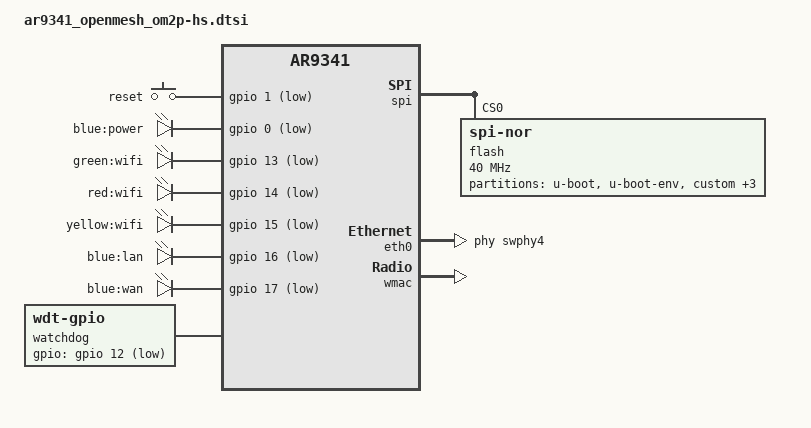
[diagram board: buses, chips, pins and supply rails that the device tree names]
// SPDX-License-Identifier: GPL-2.0-or-later OR MIT

#include "ar9341.dtsi"

#include <dt-bindings/gpio/gpio.h>
#include <dt-bindings/input/input.h>

/ {
	chosen {
		/delete-property/ bootargs;
	};

	aliases {
		led-boot = &led_power_blue;
		led-failsafe = &led_power_blue;
		led-running = &led_power_blue;
		led-upgrade = &led_power_blue;
		label-mac-device = &eth1;
	};

	keys {
		compatible = "gpio-keys";

		pinctrl-names = "default";
		pinctrl-0 = <&jtag_disable_pins &led_lan_wan_blue_pin>;

		reset {
			label = "reset";
			linux,code = <KEY_RESTART>;
			gpios = <&gpio 1 GPIO_ACTIVE_LOW>;
		};
	};

	leds {
		compatible = "gpio-leds";

		led_power_blue: power_blue {
			label = "blue:power";
			gpios = <&gpio 0 GPIO_ACTIVE_LOW>;
			default-state = "on";
		};

		wifi_green {
			label = "green:wifi";
			gpios = <&gpio 13 GPIO_ACTIVE_LOW>;
			linux,default-trigger = "phy0tpt";
		};

		wifi_red {
			label = "red:wifi";
			gpios = <&gpio 14 GPIO_ACTIVE_LOW>;
		};

		wifi_yellow {
			label = "yellow:wifi";
			gpios = <&gpio 15 GPIO_ACTIVE_LOW>;
		};

		lan_blue {
			label = "blue:lan";
			gpios = <&gpio 16 GPIO_ACTIVE_LOW>;
		};

		wan_blue {
			label = "blue:wan";
			gpios = <&gpio 17 GPIO_ACTIVE_LOW>;
		};
	};

	watchdog {
		compatible = "linux,wdt-gpio";
		gpios = <&gpio 12 GPIO_ACTIVE_LOW>;
		hw_algo = "toggle";
		/* hw_margin_ms is actually 300s but driver limits it to 60s */
		hw_margin_ms = <60000>;
		always-running;
	};
};

&ref {
	clock-frequency = <40000000>;
};

&pinmux {
	led_lan_wan_blue_pin: pinmux_lan_wan_blue_pin {
		pinctrl-single,bits = <0x10 0x0 0x0000ffff>;
	};
};

&spi {
	status = "okay";

	flash@0 {
		compatible = "jedec,spi-nor";
		reg = <0>;
		spi-max-frequency = <40000000>;

		/* partitions are passed via bootloader */
		partitions {
			compatible = "fixed-partitions";
			#address-cells = <1>;
			#size-cells = <1>;

			partition@0 {
				label = "u-boot";
				reg = <0x000000 0x040000>;
				read-only;
			};

			partition@40000 {
				label = "u-boot-env";
				reg = <0x040000 0x040000>;
			};

			partition@80000 {
				label = "custom";
				reg = <0x080000 0x140000>;
				read-only;
			};

			partition@1c0000 {
				label = "inactive";
				reg = <0x1c0000 0x700000>;
			};

			partition@8c0000 {
				label = "inactive2";
				reg = <0x8c0000 0x700000>;
			};

			art: partition@fc0000 {
				label = "ART";
				reg = <0xfc0000 0x040000>;
				read-only;
			};
		};
	};
};

&eth0 {
	status = "okay";

	phy-handle = <&swphy4>;

	nvmem-cells = <&macaddr_art_6>;
	nvmem-cell-names = "mac-address";
};

&eth1 {
	nvmem-cells = <&macaddr_art_0>;
	nvmem-cell-names = "mac-address";
};

&wmac {
	status = "okay";

	mtd-cal-data = <&art 0x1000>;
};

&art {
	compatible = "nvmem-cells";
	#address-cells = <1>;
	#size-cells = <1>;

	macaddr_art_0: macaddr@0 {
		reg = <0x0 0x6>;
	};

	macaddr_art_6: macaddr@6 {
		reg = <0x6 0x6>;
	};
};
